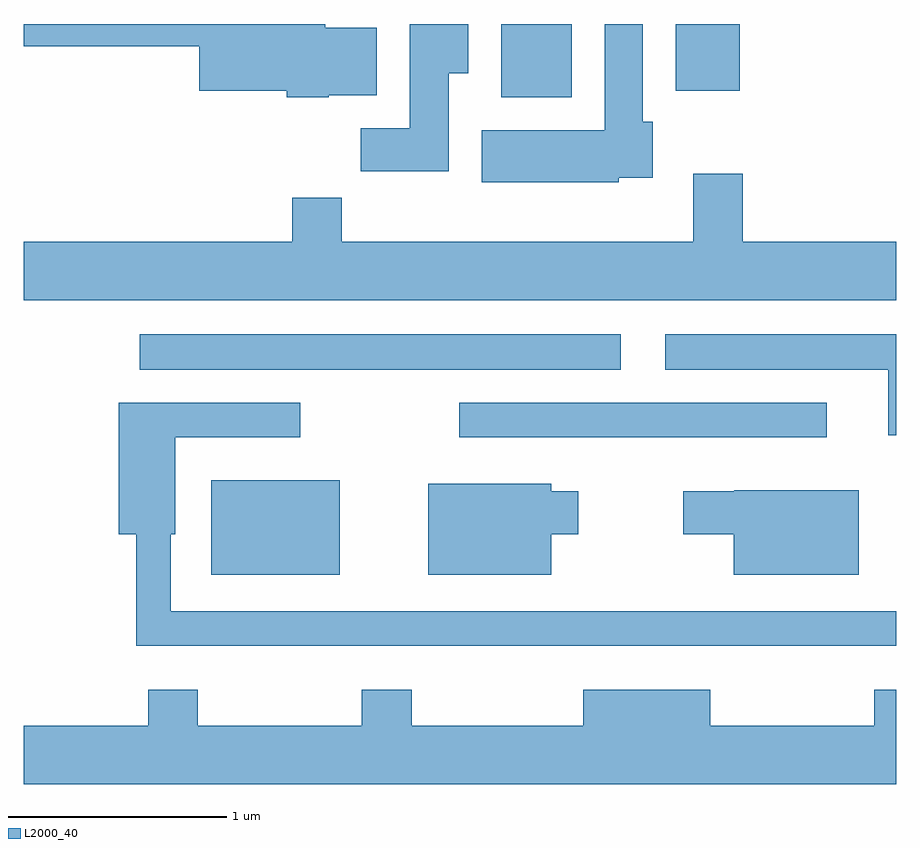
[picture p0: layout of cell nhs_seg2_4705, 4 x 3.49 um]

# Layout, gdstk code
import gdstk
lib = gdstk.Library(unit=1e-6, precision=1e-09)
def R(c, l, rs):  # rectangles x0, y0, x1, y1
    for r in rs: c.add(gdstk.rectangle(r[:2], r[2:], *l))
def P(c, l, *ps):  # polygons
    for p in ps: c.add(gdstk.Polygon(p, *l))
L2000_40 = (2000, 40)

nhs_seg2_4705 = lib.new_cell('nhs_seg2_4705')
R(nhs_seg2_4705, L2000_40, [(324.471,1049.276,325.059,1049.709), (325.608,1049.906,327.293,1050.064), (324.143,1050.216,326.348,1050.379), (325.801,1051.466,326.124,1051.802), (326.601,1051.496,326.894,1051.802)])
P(nhs_seg2_4705, L2000_40, [(326.339,1051.096),(326.494,1051.096),(326.494,1051.354),(326.449,1051.354),(326.449,1051.802),(326.276,1051.802),(326.276,1051.314),(325.711,1051.314),(325.711,1051.076),(326.339,1051.076)],
  [(325.01,1051.476),(325.229,1051.476),(325.229,1051.784),(324.994,1051.784),(324.994,1051.802),(323.611,1051.802),(323.611,1051.701),(324.416,1051.701),(324.416,1051.496),(324.816,1051.496),(324.816,1051.466),(325.01,1051.466)],
  [(325.559,1051.576),(325.649,1051.576),(325.649,1051.802),(325.381,1051.802),(325.381,1051.324),(325.156,1051.324),(325.156,1051.126),(325.559,1051.126)],
  [(327.611,1050.804),(326.909,1050.804),(326.909,1051.114),(326.681,1051.114),(326.681,1050.804),(325.069,1050.804),(325.069,1051.004),(324.841,1051.004),(324.841,1050.804),(323.611,1050.804),(323.611,1050.536),(327.611,1050.536)],
  [(327.611,1050.379),(326.553,1050.379),(326.553,1050.216),(327.576,1050.216),(327.576,1049.916),(327.611,1049.916)],
  [(327.611,1049.109),(324.284,1049.109),(324.284,1049.461),(324.304,1049.461),(324.304,1049.906),(324.878,1049.906),(324.878,1050.064),(324.046,1050.064),(324.046,1049.461),(324.126,1049.461),(324.126,1048.951),(327.611,1048.951)],
  [(326.029,1049.461),(326.154,1049.461),(326.154,1049.659),(326.029,1049.659),(326.029,1049.694),(325.466,1049.694),(325.466,1049.276),(326.029,1049.276)],
  [(327.439,1049.664),(326.87,1049.664),(326.87,1049.659),(326.636,1049.659),(326.636,1049.461),(326.866,1049.461),(326.866,1049.276),(327.439,1049.276)],
  [(326.176,1048.749),(326.176,1048.584),(325.389,1048.584),(325.389,1048.749),(325.161,1048.749),(325.161,1048.584),(324.409,1048.584),(324.409,1048.749),(324.181,1048.749),(324.181,1048.584),(323.611,1048.584),(323.611,1048.316),(327.611,1048.316),(327.611,1048.749),(327.511,1048.749),(327.511,1048.584),(326.759,1048.584),(326.759,1048.749)])

lib.write_gds('nhs_seg2_4705.gds')
